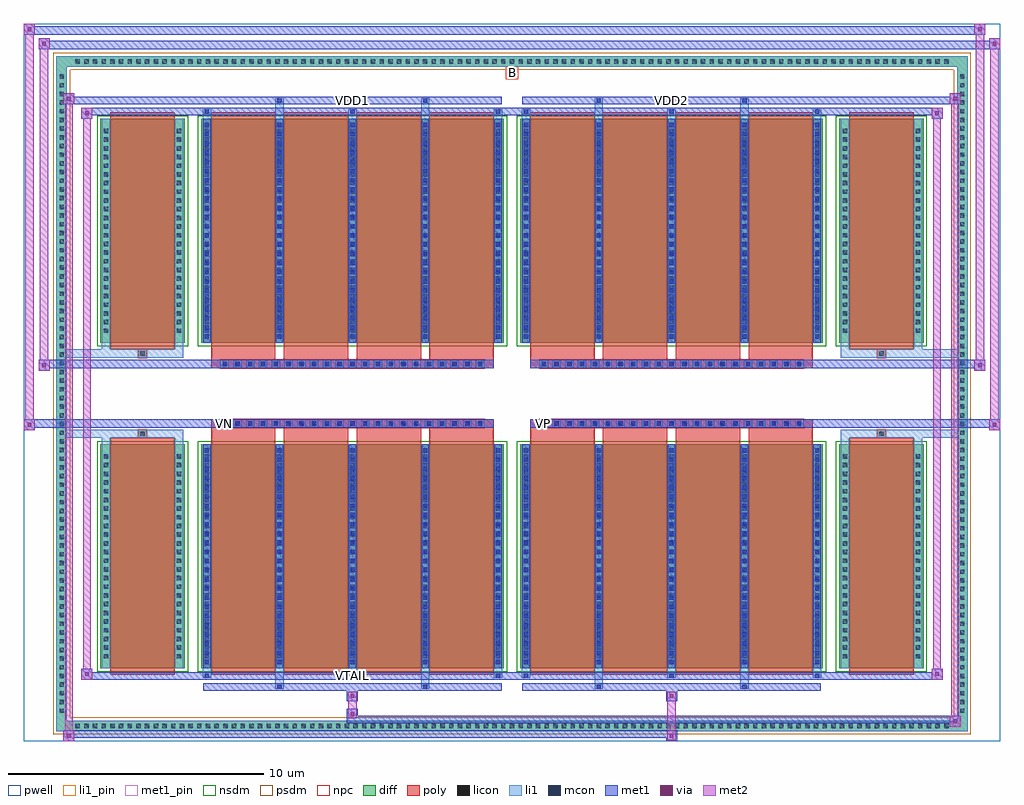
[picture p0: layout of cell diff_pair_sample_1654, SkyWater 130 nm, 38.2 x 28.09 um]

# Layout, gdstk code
import gdstk
lib = gdstk.Library(unit=1e-6, precision=5e-09)
def R(c, l, rs):  # rectangles x0, y0, x1, y1
    for r in rs: c.add(gdstk.rectangle(r[:2], r[2:], *l))
def A(c, l, x, y, w, h, nx, ny, dx, dy):  # array of equal rectangles
    R(c, l, [(x+i*dx, y+j*dy, x+i*dx+w, y+j*dy+h) for i in range(nx) for j in range(ny)])
def P(c, l, *ps):  # polygons
    for p in ps: c.add(gdstk.Polygon(p, *l))
pwell = (64, 44)
diff = (65, 20)
poly = (66, 20)
licon = (66, 44)
li1_pin = (67, 16)
li1 = (67, 20)
mcon = (67, 44)
met1_pin = (68, 16)
met1 = (68, 20)
via = (68, 44)
met2 = (69, 20)
nsdm = (93, 44)
psdm = (94, 20)
npc = (95, 20)

diff_pair_sample_1654 = lib.new_cell('diff_pair_sample_1654')
R(diff_pair_sample_1654, pwell, [(-19.1,-13.61,19.1,14.48), (-16.42,-11.8,-0.01,-0.8), (0.01,-11.8,16.42,-0.8), (-16.42,0.8,-0.01,11.8), (0.01,0.8,16.42,11.8)])
A(diff_pair_sample_1654, diff, -17.205, -13.21, 0.41, 0.41, 101, 2, 0.34, 26.01)
A(diff_pair_sample_1654, diff, -17.83, -12.615, 0.41, 0.41, 1, 74, 0, 0.34)
A(diff_pair_sample_1654, diff, 17.42, -12.615, 0.41, 0.41, 1, 74, 0, 0.34)
R(diff_pair_sample_1654, diff, [(-17.205,-13.21,17.205,-12.8), (-17.83,-12.615,-17.42,12.615), (17.42,-12.615,17.83,12.615), (-16.11,-10.755,-12.81,-1.985), (-12.17,-10.755,-0.32,-1.985), (0.32,-10.755,12.17,-1.985), (12.81,-10.755,16.11,-1.985), (-16.11,1.985,-12.81,10.755), (-12.17,1.985,-0.32,10.755), (0.32,1.985,12.17,10.755), (12.81,1.985,16.11,10.755), (-17.205,12.8,17.205,13.21)])
P(diff_pair_sample_1654, diff, [(17.83,13.21),(-17.83,13.21),(-17.83,-12.8),(-17.42,-12.8),(-17.42,12.8),(17.42,12.8),(17.42,-12.8),(-17.42,-12.8),(-17.83,-12.8),(-17.83,-13.21),(17.83,-13.21)])
A(diff_pair_sample_1654, poly, -11.78, -11.005, 2.52, 9.27, 4, 2, 2.85, 12.74)
A(diff_pair_sample_1654, poly, 0.71, -11.005, 2.52, 9.27, 4, 2, 2.85, 12.74)
A(diff_pair_sample_1654, poly, -11.78, -1.735, 2.52, 0.405, 4, 2, 2.85, 3.065)
A(diff_pair_sample_1654, poly, 0.71, -1.735, 2.52, 0.405, 4, 2, 2.85, 3.065)
A(diff_pair_sample_1654, poly, -11.41, -1.33, 0.33, 0.33, 21, 2, 0.5, 2.33)
A(diff_pair_sample_1654, poly, 1.08, -1.33, 0.33, 0.33, 21, 2, 0.5, 2.33)
R(diff_pair_sample_1654, poly, [(-15.72,-11.005,-13.2,-1.735), (13.2,-11.005,15.72,-1.735), (-14.625,-1.735,-14.295,-1.405), (-14.625,-1.735,-14.295,-1.405), (14.295,-1.735,14.625,-1.405), (14.295,-1.735,14.625,-1.405), (-11.78,-1.33,-0.71,-1), (0.71,-1.33,11.78,-1), (-11.78,1,-0.71,1.33), (0.71,1,11.78,1.33), (-14.625,1.405,-14.295,1.735), (-14.625,1.405,-14.295,1.735), (14.295,1.405,14.625,1.735), (14.295,1.405,14.625,1.735), (-15.72,1.735,-13.2,11.005), (13.2,1.735,15.72,11.005)])
A(diff_pair_sample_1654, licon, -17.085, -13.09, 0.17, 0.17, 101, 2, 0.34, 26.01)
A(diff_pair_sample_1654, licon, -17.71, -12.495, 0.17, 0.17, 1, 74, 0, 0.34)
A(diff_pair_sample_1654, licon, 17.54, -12.495, 0.17, 0.17, 1, 74, 0, 0.34)
A(diff_pair_sample_1654, licon, -15.97, -10.365, 0.17, 0.17, 1, 24, 0, 0.34)
A(diff_pair_sample_1654, licon, -13.12, -10.365, 0.17, 0.17, 1, 24, 0, 0.34)
A(diff_pair_sample_1654, licon, -12.03, -10.365, 0.17, 0.17, 5, 24, 2.85, 0.34)
A(diff_pair_sample_1654, licon, 0.46, -10.365, 0.17, 0.17, 5, 24, 2.85, 0.34)
A(diff_pair_sample_1654, licon, 12.95, -10.365, 0.17, 0.17, 1, 24, 0, 0.34)
A(diff_pair_sample_1654, licon, 15.8, -10.365, 0.17, 0.17, 1, 24, 0, 0.34)
A(diff_pair_sample_1654, licon, -11.33, -1.25, 0.17, 0.17, 21, 2, 0.5, 2.33)
A(diff_pair_sample_1654, licon, 1.16, -1.25, 0.17, 0.17, 21, 2, 0.5, 2.33)
A(diff_pair_sample_1654, licon, -15.97, 2.375, 0.17, 0.17, 1, 24, 0, 0.34)
A(diff_pair_sample_1654, licon, -13.12, 2.375, 0.17, 0.17, 1, 24, 0, 0.34)
A(diff_pair_sample_1654, licon, -12.03, 2.375, 0.17, 0.17, 5, 24, 2.85, 0.34)
A(diff_pair_sample_1654, licon, 0.46, 2.375, 0.17, 0.17, 5, 24, 2.85, 0.34)
A(diff_pair_sample_1654, licon, 12.95, 2.375, 0.17, 0.17, 1, 24, 0, 0.34)
A(diff_pair_sample_1654, licon, 15.8, 2.375, 0.17, 0.17, 1, 24, 0, 0.34)
R(diff_pair_sample_1654, licon, [(-14.545,-1.655,-14.375,-1.485), (14.375,-1.655,14.545,-1.485), (-14.545,1.485,-14.375,1.655), (14.375,1.485,14.545,1.655)])
R(diff_pair_sample_1654, li1_pin, [(-0.25,12.3,0.25,12.8)])
A(diff_pair_sample_1654, li1, -17.165, -13.17, 0.33, 0.33, 101, 2, 0.34, 26.01)
A(diff_pair_sample_1654, li1, -17.79, -12.575, 0.33, 0.33, 1, 74, 0, 0.34)
A(diff_pair_sample_1654, li1, 17.46, -12.575, 0.33, 0.33, 1, 74, 0, 0.34)
A(diff_pair_sample_1654, li1, -12.11, -11.13, 0.33, 0.375, 3, 2, 5.7, 21.885)
A(diff_pair_sample_1654, li1, -12.03, -11.13, 0.17, 0.17, 3, 2, 5.7, 22.09)
A(diff_pair_sample_1654, li1, 0.38, -11.13, 0.33, 0.375, 3, 2, 5.7, 21.885)
A(diff_pair_sample_1654, li1, 0.46, -11.13, 0.17, 0.17, 3, 2, 5.7, 22.09)
A(diff_pair_sample_1654, li1, -12.11, -10.755, 0.33, 8.77, 5, 2, 2.85, 12.74)
A(diff_pair_sample_1654, li1, 0.38, -10.755, 0.33, 8.77, 5, 2, 2.85, 12.74)
A(diff_pair_sample_1654, li1, -12.03, -10.595, 0.17, 0.17, 5, 24, 2.85, 0.36)
A(diff_pair_sample_1654, li1, -12.03, -10.595, 0.17, 8.45, 5, 2, 2.85, 12.74)
A(diff_pair_sample_1654, li1, 0.46, -10.595, 0.17, 0.17, 5, 24, 2.85, 0.36)
A(diff_pair_sample_1654, li1, 0.46, -10.595, 0.17, 8.45, 5, 2, 2.85, 12.74)
A(diff_pair_sample_1654, li1, -16.05, -10.445, 0.33, 0.33, 1, 24, 0, 0.34)
A(diff_pair_sample_1654, li1, -13.2, -10.445, 0.33, 0.33, 1, 24, 0, 0.34)
A(diff_pair_sample_1654, li1, -12.11, -10.445, 0.33, 0.33, 5, 24, 2.85, 0.34)
A(diff_pair_sample_1654, li1, 0.38, -10.445, 0.33, 0.33, 5, 24, 2.85, 0.34)
A(diff_pair_sample_1654, li1, 12.87, -10.445, 0.33, 0.33, 1, 24, 0, 0.34)
A(diff_pair_sample_1654, li1, 15.72, -10.445, 0.33, 0.33, 1, 24, 0, 0.34)
A(diff_pair_sample_1654, li1, -11.41, -1.33, 0.33, 0.33, 21, 2, 0.5, 2.33)
A(diff_pair_sample_1654, li1, 1.08, -1.33, 0.33, 0.33, 21, 2, 0.5, 2.33)
A(diff_pair_sample_1654, li1, -12.03, 2.145, 0.17, 0.17, 5, 24, 2.85, 0.36)
A(diff_pair_sample_1654, li1, 0.46, 2.145, 0.17, 0.17, 5, 24, 2.85, 0.36)
A(diff_pair_sample_1654, li1, -16.05, 2.295, 0.33, 0.33, 1, 24, 0, 0.34)
A(diff_pair_sample_1654, li1, -13.2, 2.295, 0.33, 0.33, 1, 24, 0, 0.34)
A(diff_pair_sample_1654, li1, -12.11, 2.295, 0.33, 0.33, 5, 24, 2.85, 0.34)
A(diff_pair_sample_1654, li1, 0.38, 2.295, 0.33, 0.33, 5, 24, 2.85, 0.34)
A(diff_pair_sample_1654, li1, 12.87, 2.295, 0.33, 0.33, 1, 24, 0, 0.34)
A(diff_pair_sample_1654, li1, 15.72, 2.295, 0.33, 0.33, 1, 24, 0, 0.34)
R(diff_pair_sample_1654, li1, [(-17.83,-13.21,-17.42,-12.8), (-17.83,-13.21,-17.42,-12.8), (-17.42,-13.21,17.42,-12.8), (17.42,-13.21,17.83,-12.8), (17.42,-13.21,17.83,-12.8), (-17.83,-12.8,-17.42,12.8), (17.42,-12.8,17.83,12.8), (-9.26,-11.56,-8.93,-10.755), (-9.18,-11.56,-9.01,-11.39), (-3.56,-11.56,-3.23,-10.755), (-3.48,-11.56,-3.31,-11.39), (3.23,-11.56,3.56,-10.755), (3.31,-11.56,3.48,-11.39), (8.93,-11.56,9.26,-10.755), (9.01,-11.56,9.18,-11.39), (-16.05,-10.755,-15.72,-1.985), (-13.2,-10.755,-12.87,-1.985), (12.87,-10.755,13.2,-1.985), (15.72,-10.755,16.05,-1.985), (-16.05,-1.985,-15.72,-1.405), (-13.2,-1.985,-12.87,-1.405), (12.87,-1.985,13.2,-1.405), (15.72,-1.985,16.05,-1.405), (-17.83,-1.735,-14.625,-1.405), (-16.05,-1.735,-14.625,-1.405), (-14.625,-1.735,-14.295,-1.405), (-14.295,-1.735,-12.87,-1.405), (12.87,-1.735,14.295,-1.405), (14.295,-1.735,14.625,-1.405), (14.295,-1.735,17.83,-1.405), (14.625,-1.735,16.05,-1.405), (-17.83,1.405,-14.625,1.735), (-16.05,1.405,-14.625,1.735), (-16.05,1.405,-15.72,1.985), (-14.625,1.405,-14.295,1.735), (-14.295,1.405,-12.87,1.735), (-13.2,1.405,-12.87,1.985), (12.87,1.405,14.295,1.735), (12.87,1.405,13.2,1.985), (14.295,1.405,14.625,1.735), (14.295,1.405,17.83,1.735), (14.625,1.405,16.05,1.735), (15.72,1.405,16.05,1.985), (-16.05,1.985,-15.72,10.755), (-13.2,1.985,-12.87,10.755), (12.87,1.985,13.2,10.755), (15.72,1.985,16.05,10.755), (-9.26,10.755,-8.93,11.56), (-3.56,10.755,-3.23,11.56), (3.23,10.755,3.56,11.56), (8.93,10.755,9.26,11.56), (-9.18,11.39,-9.01,11.56), (-3.48,11.39,-3.31,11.56), (3.31,11.39,3.48,11.56), (9.01,11.39,9.18,11.56), (-17.83,12.8,-17.42,13.21), (-17.83,12.8,-17.42,13.21), (-17.42,12.8,17.42,13.21), (17.42,12.8,17.83,13.21), (17.42,12.8,17.83,13.21)])
A(diff_pair_sample_1654, mcon, -12.03, -11.13, 0.17, 0.17, 3, 2, 5.7, 22.09)
A(diff_pair_sample_1654, mcon, 0.46, -11.13, 0.17, 0.17, 3, 2, 5.7, 22.09)
A(diff_pair_sample_1654, mcon, -12.03, -10.595, 0.17, 0.17, 5, 24, 2.85, 0.36)
A(diff_pair_sample_1654, mcon, 0.46, -10.595, 0.17, 0.17, 5, 24, 2.85, 0.36)
A(diff_pair_sample_1654, mcon, -11.33, -1.25, 0.17, 0.17, 21, 2, 0.5, 2.33)
A(diff_pair_sample_1654, mcon, 1.16, -1.25, 0.17, 0.17, 21, 2, 0.5, 2.33)
A(diff_pair_sample_1654, mcon, -12.03, 2.145, 0.17, 0.17, 5, 24, 2.85, 0.36)
A(diff_pair_sample_1654, mcon, 0.46, 2.145, 0.17, 0.17, 5, 24, 2.85, 0.36)
R(diff_pair_sample_1654, mcon, [(-9.18,-11.56,-9.01,-11.39), (-3.48,-11.56,-3.31,-11.39), (3.31,-11.56,3.48,-11.39), (9.01,-11.56,9.18,-11.39), (-9.18,11.39,-9.01,11.56), (-3.48,11.39,-3.31,11.56), (3.31,11.39,3.48,11.56), (9.01,11.39,9.18,11.56)])
R(diff_pair_sample_1654, met1_pin, [(-6.38,-11.17,-6.11,-10.9), (-11.38,-1.29,-11.11,-1.02), (1.11,-1.29,1.38,-1.02), (-6.38,11.35,-6.11,11.62), (6.11,11.35,6.38,11.62)])
A(diff_pair_sample_1654, met1, -12.09, -11.19, 0.29, 0.29, 3, 2, 5.7, 22.09)
A(diff_pair_sample_1654, met1, 0.4, -11.19, 0.29, 0.29, 3, 2, 5.7, 22.09)
A(diff_pair_sample_1654, met1, -12.09, -10.755, 0.29, 8.77, 5, 2, 2.85, 12.74)
A(diff_pair_sample_1654, met1, 0.4, -10.755, 0.29, 8.77, 5, 2, 2.85, 12.74)
A(diff_pair_sample_1654, met1, -12.09, -10.655, 0.29, 0.29, 5, 24, 2.85, 0.36)
A(diff_pair_sample_1654, met1, 0.4, -10.655, 0.29, 0.29, 5, 24, 2.85, 0.36)
A(diff_pair_sample_1654, met1, -11.39, -1.31, 0.29, 0.29, 21, 2, 0.5, 2.33)
A(diff_pair_sample_1654, met1, 1.1, -1.31, 0.29, 0.29, 21, 2, 0.5, 2.33)
A(diff_pair_sample_1654, met1, -12.09, 2.085, 0.29, 0.29, 5, 24, 2.85, 0.36)
A(diff_pair_sample_1654, met1, 0.4, 2.085, 0.29, 0.29, 5, 24, 2.85, 0.36)
R(diff_pair_sample_1654, met1, [(-17.56,-13.61,-17.13,-13.18), (6.03,-13.61,6.46,-13.18), (-17.56,-13.47,6.46,-13.18), (17.13,-13.04,17.56,-12.61), (-6.46,-12.9,17.56,-12.61), (-6.46,-12.76,-6.03,-12.33), (-6.46,-12.05,-6.03,-11.62), (6.03,-12.05,6.46,-11.62), (-12.09,-11.62,-0.4,-11.33), (-9.24,-11.62,-8.95,-11.33), (-3.54,-11.62,-3.25,-11.33), (0.4,-11.62,12.09,-11.33), (3.25,-11.62,3.54,-11.33), (8.95,-11.62,9.24,-11.33), (-16.85,-11.19,-16.42,-10.76), (-16.85,-11.19,-12.09,-10.9), (-12.09,-11.19,-0.4,-10.9), (-0.4,-11.19,0.4,-10.9), (0.4,-11.19,12.09,-10.9), (12.09,-11.19,16.85,-10.9), (16.42,-11.19,16.85,-10.76), (-19.1,-1.43,-18.67,-1), (18.67,-1.43,19.1,-1), (-19.1,-1.33,-0.71,-1), (-11.78,-1.33,-0.71,-1), (0.71,-1.33,11.78,-1), (0.71,-1.33,19.1,-1), (-18.53,0.9,-18.1,1.33), (18.1,0.9,18.53,1.33), (-18.53,1,-11.78,1.33), (-11.78,1,-0.71,1.33), (0.71,1,11.78,1.33), (11.78,1,18.53,1.33), (-16.85,10.76,-16.42,11.19), (16.42,10.76,16.85,11.19), (-16.85,10.9,-12.09,11.19), (-12.09,10.9,-0.4,11.19), (-0.4,10.9,0.4,11.19), (0.4,10.9,12.09,11.19), (12.09,10.9,16.85,11.19), (-17.56,11.33,-17.13,11.76), (-17.56,11.33,-12.09,11.62), (-12.09,11.33,-0.4,11.62), (-9.24,11.33,-8.95,11.62), (-3.54,11.33,-3.25,11.62), (0.4,11.33,12.09,11.62), (3.25,11.33,3.54,11.62), (8.95,11.33,9.24,11.62), (12.09,11.33,17.56,11.62), (17.13,11.33,17.56,11.76), (-18.53,13.48,-18.1,13.91), (-18.53,13.48,-16.42,13.81), (-16.42,13.48,16.42,13.81), (16.42,13.48,19.1,13.81), (18.67,13.48,19.1,13.91), (-19.1,14.05,-18.67,14.48), (-19.1,14.05,-16.42,14.38), (-16.42,14.05,16.42,14.38), (16.42,14.05,18.53,14.38), (18.1,14.05,18.53,14.48)])
R(diff_pair_sample_1654, via, [(-17.42,-13.47,-17.27,-13.32), (6.17,-13.47,6.32,-13.32), (17.27,-12.9,17.42,-12.75), (-6.32,-12.62,-6.17,-12.47), (-6.32,-11.91,-6.17,-11.76), (6.17,-11.91,6.32,-11.76), (-16.71,-11.05,-16.56,-10.9), (16.56,-11.05,16.71,-10.9), (-18.96,-1.29,-18.81,-1.14), (18.81,-1.29,18.96,-1.14), (-18.39,1.04,-18.24,1.19), (18.24,1.04,18.39,1.19), (-16.71,10.9,-16.56,11.05), (16.56,10.9,16.71,11.05), (-17.42,11.47,-17.27,11.62), (17.27,11.47,17.42,11.62), (-18.39,13.62,-18.24,13.77), (18.81,13.62,18.96,13.77), (-18.96,14.19,-18.81,14.34), (18.24,14.19,18.39,14.34)])
R(diff_pair_sample_1654, met2, [(-17.56,-13.61,-17.13,-13.18), (-17.49,-13.61,-17.2,11.76), (-17.2,-13.61,-17.13,-13.18), (-17.51,-13.56,-17.18,-13.23), (6.08,-13.56,6.41,-13.23), (6.08,-13.23,6.41,-12), (17.13,-13.04,17.56,-12.61), (17.2,-13.04,17.49,11.76), (17.49,-13.04,17.56,-12.61), (17.18,-12.99,17.51,-12.66), (-6.41,-12.71,-6.08,-12.38), (-6.41,-12.38,-6.08,-12), (-6.41,-12,-6.08,-11.67), (6.08,-12,6.41,-11.67), (-16.85,-11.19,-16.42,-10.76), (-16.78,-11.19,-16.49,11.19), (-16.49,-11.19,-16.42,-10.76), (16.42,-11.19,16.85,-10.76), (16.49,-11.19,16.78,11.19), (16.78,-11.19,16.85,-10.76), (-16.8,-11.14,-16.47,-10.81), (16.47,-11.14,16.8,-10.81), (-19.1,-1.43,-18.67,-1), (-19.05,-1.43,-18.72,14.48), (-18.72,-1.43,-18.67,-1), (18.67,-1.43,19.1,-1), (18.72,-1.43,19.05,13.91), (19.05,-1.43,19.1,-1), (-19.05,-1.38,-18.72,-1.05), (18.72,-1.38,19.05,-1.05), (-18.53,0.9,-18.1,1.33), (-18.48,0.9,-18.15,13.91), (-18.15,0.9,-18.1,1.33), (18.1,0.9,18.53,1.33), (18.15,0.9,18.48,14.48), (18.48,0.9,18.53,1.33), (-18.48,0.95,-18.15,1.28), (18.15,0.95,18.48,1.28), (-16.85,10.76,-16.42,11.19), (-16.49,10.76,-16.42,11.19), (16.42,10.76,16.85,11.19), (16.78,10.76,16.85,11.19), (-16.8,10.81,-16.47,11.14), (16.47,10.81,16.8,11.14), (-17.56,11.33,-17.13,11.76), (-17.2,11.33,-17.13,11.76), (17.13,11.33,17.56,11.76), (17.49,11.33,17.56,11.76), (-17.51,11.38,-17.18,11.71), (17.18,11.38,17.51,11.71), (-18.53,13.48,-18.1,13.91), (-18.15,13.48,-18.1,13.91), (18.67,13.48,19.1,13.91), (19.05,13.48,19.1,13.91), (-18.48,13.53,-18.15,13.86), (18.72,13.53,19.05,13.86), (-19.1,14.05,-18.67,14.48), (-18.72,14.05,-18.67,14.48), (18.1,14.05,18.53,14.48), (18.48,14.05,18.53,14.48), (-19.05,14.1,-18.72,14.43), (18.15,14.1,18.48,14.43)])
R(diff_pair_sample_1654, nsdm, [(-16.24,-10.885,-12.68,-1.855), (-12.3,-10.885,-0.19,-1.855), (0.19,-10.885,12.3,-1.855), (12.68,-10.885,16.24,-1.855), (-16.24,1.855,-12.68,10.885), (-12.3,1.855,-0.19,10.885), (0.19,1.855,12.3,10.885), (12.68,1.855,16.24,10.885)])
P(diff_pair_sample_1654, psdm, [(17.96,13.34),(-17.96,13.34),(-17.96,-12.67),(-17.29,-12.67),(-17.29,12.67),(17.29,12.67),(17.29,-12.67),(-17.29,-12.67),(-17.96,-12.67),(-17.96,-13.34),(17.96,-13.34)])
A(diff_pair_sample_1654, npc, -11.43, -1.35, 0.37, 0.37, 21, 2, 0.5, 2.33)
A(diff_pair_sample_1654, npc, 1.06, -1.35, 0.37, 0.37, 21, 2, 0.5, 2.33)
R(diff_pair_sample_1654, npc, [(-14.645,-1.755,-14.275,-1.385), (14.275,-1.755,14.645,-1.385), (-11.43,-1.35,-10.56,-0.98), (-11.43,-1.35,-10.56,-0.98), (-10.93,-1.35,-10.06,-0.98), (-10.93,-1.35,-10.06,-0.98), (-10.43,-1.35,-9.56,-0.98), (-10.43,-1.35,-9.56,-0.98), (-9.93,-1.35,-9.06,-0.98), (-9.93,-1.35,-9.06,-0.98), (-9.43,-1.35,-8.56,-0.98), (-9.43,-1.35,-8.56,-0.98), (-8.93,-1.35,-8.06,-0.98), (-8.93,-1.35,-8.06,-0.98), (-8.43,-1.35,-7.56,-0.98), (-8.43,-1.35,-7.56,-0.98), (-7.93,-1.35,-7.06,-0.98), (-7.93,-1.35,-7.06,-0.98), (-7.43,-1.35,-6.56,-0.98), (-7.43,-1.35,-6.56,-0.98), (-6.93,-1.35,-6.06,-0.98), (-6.93,-1.35,-6.06,-0.98), (-6.43,-1.35,-5.56,-0.98), (-6.43,-1.35,-5.56,-0.98), (-5.93,-1.35,-5.06,-0.98), (-5.93,-1.35,-5.06,-0.98), (-5.43,-1.35,-4.56,-0.98), (-5.43,-1.35,-4.56,-0.98), (-4.93,-1.35,-4.06,-0.98), (-4.93,-1.35,-4.06,-0.98), (-4.43,-1.35,-3.56,-0.98), (-4.43,-1.35,-3.56,-0.98), (-3.93,-1.35,-3.06,-0.98), (-3.93,-1.35,-3.06,-0.98), (-3.43,-1.35,-2.56,-0.98), (-3.43,-1.35,-2.56,-0.98), (-2.93,-1.35,-2.06,-0.98), (-2.93,-1.35,-2.06,-0.98), (-2.43,-1.35,-1.56,-0.98), (-2.43,-1.35,-1.56,-0.98), (-1.93,-1.35,-1.06,-0.98), (-1.93,-1.35,-1.06,-0.98), (1.06,-1.35,1.93,-0.98), (1.06,-1.35,1.93,-0.98), (1.56,-1.35,2.43,-0.98), (1.56,-1.35,2.43,-0.98), (2.06,-1.35,2.93,-0.98), (2.06,-1.35,2.93,-0.98), (2.56,-1.35,3.43,-0.98), (2.56,-1.35,3.43,-0.98), (3.06,-1.35,3.93,-0.98), (3.06,-1.35,3.93,-0.98), (3.56,-1.35,4.43,-0.98), (3.56,-1.35,4.43,-0.98), (4.06,-1.35,4.93,-0.98), (4.06,-1.35,4.93,-0.98), (4.56,-1.35,5.43,-0.98), (4.56,-1.35,5.43,-0.98), (5.06,-1.35,5.93,-0.98), (5.06,-1.35,5.93,-0.98), (5.56,-1.35,6.43,-0.98), (5.56,-1.35,6.43,-0.98), (6.06,-1.35,6.93,-0.98), (6.06,-1.35,6.93,-0.98), (6.56,-1.35,7.43,-0.98), (6.56,-1.35,7.43,-0.98), (7.06,-1.35,7.93,-0.98), (7.06,-1.35,7.93,-0.98), (7.56,-1.35,8.43,-0.98), (7.56,-1.35,8.43,-0.98), (8.06,-1.35,8.93,-0.98), (8.06,-1.35,8.93,-0.98), (8.56,-1.35,9.43,-0.98), (8.56,-1.35,9.43,-0.98), (9.06,-1.35,9.93,-0.98), (9.06,-1.35,9.93,-0.98), (9.56,-1.35,10.43,-0.98), (9.56,-1.35,10.43,-0.98), (10.06,-1.35,10.93,-0.98), (10.06,-1.35,10.93,-0.98), (10.56,-1.35,11.43,-0.98), (10.56,-1.35,11.43,-0.98), (-11.43,0.98,-10.56,1.35), (-11.43,0.98,-10.56,1.35), (-10.93,0.98,-10.06,1.35), (-10.93,0.98,-10.06,1.35), (-10.43,0.98,-9.56,1.35), (-10.43,0.98,-9.56,1.35), (-9.93,0.98,-9.06,1.35), (-9.93,0.98,-9.06,1.35), (-9.43,0.98,-8.56,1.35), (-9.43,0.98,-8.56,1.35), (-8.93,0.98,-8.06,1.35), (-8.93,0.98,-8.06,1.35), (-8.43,0.98,-7.56,1.35), (-8.43,0.98,-7.56,1.35), (-7.93,0.98,-7.06,1.35), (-7.93,0.98,-7.06,1.35), (-7.43,0.98,-6.56,1.35), (-7.43,0.98,-6.56,1.35), (-6.93,0.98,-6.06,1.35), (-6.93,0.98,-6.06,1.35), (-6.43,0.98,-5.56,1.35), (-6.43,0.98,-5.56,1.35), (-5.93,0.98,-5.06,1.35), (-5.93,0.98,-5.06,1.35), (-5.43,0.98,-4.56,1.35), (-5.43,0.98,-4.56,1.35), (-4.93,0.98,-4.06,1.35), (-4.93,0.98,-4.06,1.35), (-4.43,0.98,-3.56,1.35), (-4.43,0.98,-3.56,1.35), (-3.93,0.98,-3.06,1.35), (-3.93,0.98,-3.06,1.35), (-3.43,0.98,-2.56,1.35), (-3.43,0.98,-2.56,1.35), (-2.93,0.98,-2.06,1.35), (-2.93,0.98,-2.06,1.35), (-2.43,0.98,-1.56,1.35), (-2.43,0.98,-1.56,1.35), (-1.93,0.98,-1.06,1.35), (-1.93,0.98,-1.06,1.35), (1.06,0.98,1.93,1.35), (1.06,0.98,1.93,1.35), (1.56,0.98,2.43,1.35), (1.56,0.98,2.43,1.35), (2.06,0.98,2.93,1.35), (2.06,0.98,2.93,1.35), (2.56,0.98,3.43,1.35), (2.56,0.98,3.43,1.35), (3.06,0.98,3.93,1.35), (3.06,0.98,3.93,1.35), (3.56,0.98,4.43,1.35), (3.56,0.98,4.43,1.35), (4.06,0.98,4.93,1.35), (4.06,0.98,4.93,1.35), (4.56,0.98,5.43,1.35), (4.56,0.98,5.43,1.35), (5.06,0.98,5.93,1.35), (5.06,0.98,5.93,1.35), (5.56,0.98,6.43,1.35), (5.56,0.98,6.43,1.35), (6.06,0.98,6.93,1.35), (6.06,0.98,6.93,1.35), (6.56,0.98,7.43,1.35), (6.56,0.98,7.43,1.35), (7.06,0.98,7.93,1.35), (7.06,0.98,7.93,1.35), (7.56,0.98,8.43,1.35), (7.56,0.98,8.43,1.35), (8.06,0.98,8.93,1.35), (8.06,0.98,8.93,1.35), (8.56,0.98,9.43,1.35), (8.56,0.98,9.43,1.35), (9.06,0.98,9.93,1.35), (9.06,0.98,9.93,1.35), (9.56,0.98,10.43,1.35), (9.56,0.98,10.43,1.35), (10.06,0.98,10.93,1.35), (10.06,0.98,10.93,1.35), (10.56,0.98,11.43,1.35), (10.56,0.98,11.43,1.35), (-14.645,1.385,-14.275,1.755), (14.275,1.385,14.645,1.755)])
diff_pair_sample_1654.add(gdstk.Label('VTAIL', (-6.245,-11.035), layer=68, texttype=5))
diff_pair_sample_1654.add(gdstk.Label('VN', (-11.245,-1.155), layer=68, texttype=5))
diff_pair_sample_1654.add(gdstk.Label('VP', (1.245,-1.155), layer=68, texttype=5))
diff_pair_sample_1654.add(gdstk.Label('B', (0,12.55), layer=67, texttype=5))
diff_pair_sample_1654.add(gdstk.Label('VDD2', (6.245,11.485), layer=68, texttype=5))
diff_pair_sample_1654.add(gdstk.Label('VDD1', (-6.245,11.485), layer=68, texttype=5))

lib.write_gds('diff_pair_sample_1654.gds')
